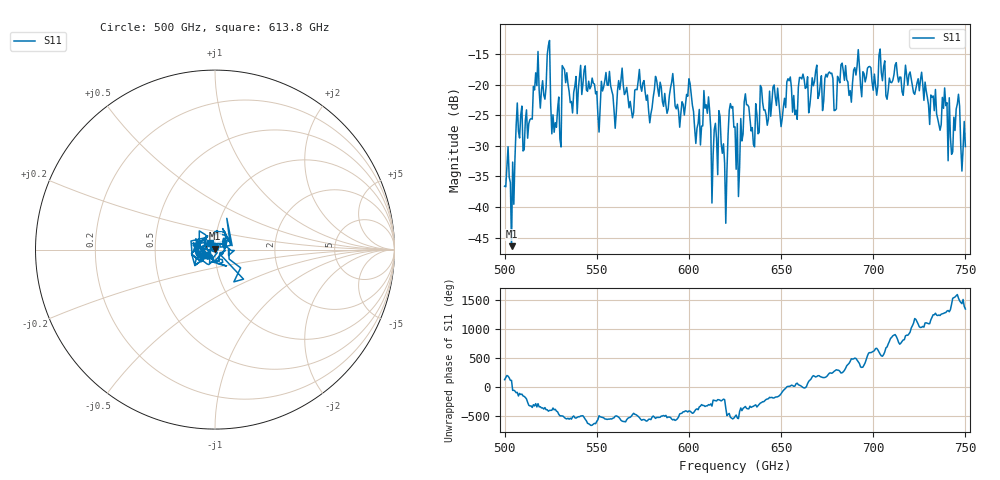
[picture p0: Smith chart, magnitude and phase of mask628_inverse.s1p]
!Created with skrf (http://scikit-rf.org).
# GHz S MA R 50.0
!freq magS11 angS11
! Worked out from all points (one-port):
!   401 points, 500 GHz to 750 GHz, reference 50 ohm
!   lowest |S11| = -46.4 dB at 503.8 GHz (marker M1), VSWR 1.01, Z = 49.8 + j0.448 ohm
!   |S11| at or under -10 dB: start of sweep to end of sweep
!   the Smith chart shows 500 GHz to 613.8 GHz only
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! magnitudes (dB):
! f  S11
! 500 GHz  -36.6
! 503.8 GHz  -46.4
! 507.5 GHz  -27.6
! 513.8 GHz  -25.7
! 516.9 GHz  -18.1
! 523.8 GHz  -13.6
! 526.9 GHz  -27.8
! 531.2 GHz  -16.9
! 532.5 GHz  -17.6
! 550.6 GHz  -25.0
! 562.5 GHz  -20.8
! 593.8 GHz  -23.2
! 600 GHz  -19.1
! 605 GHz  -26.3
! 609.4 GHz  -23.3
! 613.1 GHz  -31.5
! 617.5 GHz  -29.6
! 619.4 GHz  -32.8
! 622.5 GHz  -23.1
! 625 GHz  -26.9
! 626.2 GHz  -26.4
! 631.2 GHz  -23.3
! 634.4 GHz  -27.0
! 640 GHz  -22.9
! 656.2 GHz  -24.5
! 687.5 GHz  -21.0
! 718.8 GHz  -20.1
! 750 GHz  -30.1
